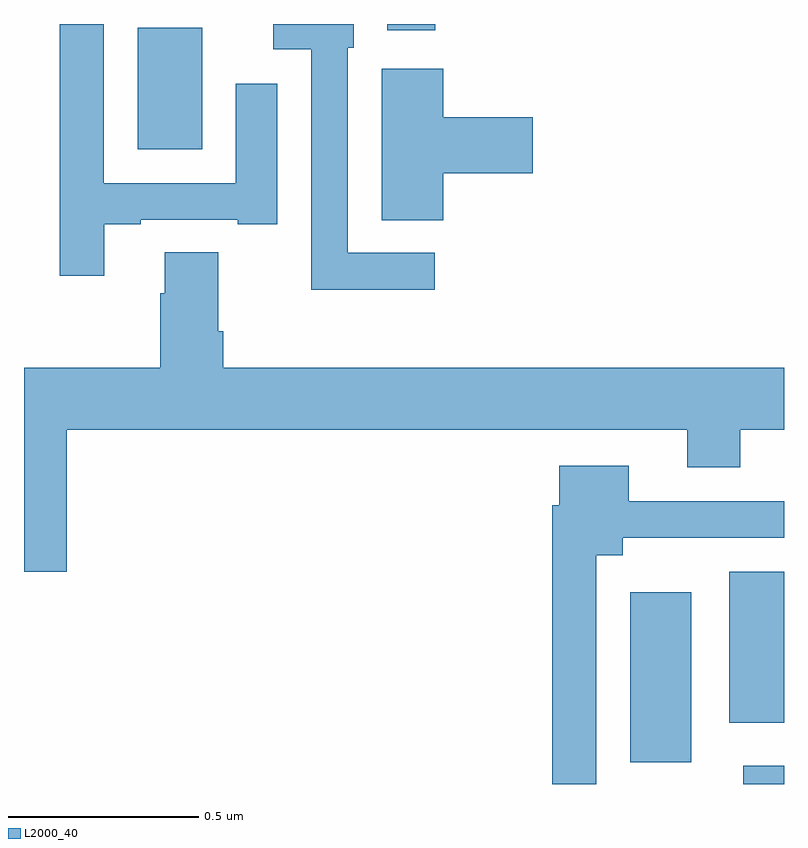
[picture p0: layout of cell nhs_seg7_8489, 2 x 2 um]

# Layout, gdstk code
import gdstk
lib = gdstk.Library(unit=1e-6, precision=1e-09)
def R(c, l, rs):  # rectangles x0, y0, x1, y1
    for r in rs: c.add(gdstk.rectangle(r[:2], r[2:], *l))
def P(c, l, *ps):  # polygons
    for p in ps: c.add(gdstk.Polygon(p, *l))
L2000_40 = (2000, 40)

nhs_seg7_8489 = lib.new_cell('nhs_seg7_8489')
R(nhs_seg7_8489, L2000_40, [(226.893,1017,227,1017.048), (226.595,1017.057,226.756,1017.505), (226.856,1017.161,227,1017.559), (225.299,1018.67,225.469,1018.99), (225.956,1018.983,226.082,1019)])
P(nhs_seg7_8489, L2000_40, [(226.081,1018.398),(225.852,1018.398),(225.852,1018.938),(225.868,1018.938),(225.868,1019),(225.656,1019),(225.656,1018.934),(225.756,1018.934),(225.756,1018.301),(226.081,1018.301)],
  [(225.211,1018.473),(225.307,1018.473),(225.307,1018.485),(225.563,1018.485),(225.563,1018.473),(225.667,1018.473),(225.667,1018.843),(225.557,1018.843),(225.557,1018.581),(225.21,1018.581),(225.21,1019),(225.094,1019),(225.094,1018.338),(225.211,1018.338)],
  [(226.103,1018.607),(226.339,1018.607),(226.339,1018.754),(226.103,1018.754),(226.103,1018.882),(225.941,1018.882),(225.941,1018.483),(226.103,1018.483)],
  [(225.112,1017.932),(226.745,1017.932),(226.745,1017.833),(226.885,1017.833),(226.885,1017.932),(227,1017.932),(227,1018.096),(225.524,1018.096),(225.524,1018.192),(225.511,1018.192),(225.511,1018.4),(225.371,1018.4),(225.371,1018.292),(225.359,1018.292),(225.359,1018.096),(225,1018.096),(225,1017.558),(225.112,1017.558)],
  [(226.506,1017.602),(226.576,1017.602),(226.576,1017.648),(227,1017.648),(227,1017.744),(226.591,1017.744),(226.591,1017.838),(226.409,1017.838),(226.409,1017.734),(226.39,1017.734),(226.39,1017),(226.506,1017)])

lib.write_gds('nhs_seg7_8489.gds')
